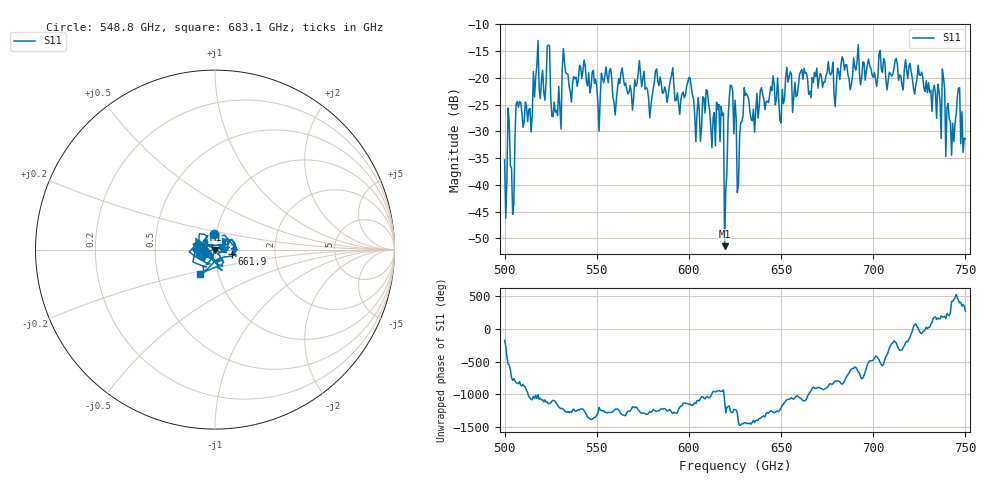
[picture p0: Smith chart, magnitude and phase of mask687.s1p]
!Created with skrf (http://scikit-rf.org).
# GHz S MA R 50.0
!freq magS11 angS11
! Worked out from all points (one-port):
!   401 points, 500 GHz to 750 GHz, reference 50 ohm
!   lowest |S11| = -51.4 dB at 619.4 GHz (marker M1), VSWR 1.01, Z = 50.3 - j0.0873 ohm
!   |S11| at or under -10 dB: start of sweep to end of sweep
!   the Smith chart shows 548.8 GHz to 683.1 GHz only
!   S11 on the Smith chart (normalised r, x): 548.8 GHz: 0.98, +0.17; 661.9 GHz: 1.21, -0.05; 683.1 GHz: 0.82, -0.22
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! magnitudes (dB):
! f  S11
! 500 GHz  -35.4
! 502.5 GHz  -28.2
! 504.4 GHz  -45.5
! 507.5 GHz  -25.5
! 513.8 GHz  -25.8
! 516.9 GHz  -19.8
! 523.8 GHz  -13.9
! 526.9 GHz  -24.6
! 531.2 GHz  -18.4
! 548.8 GHz  -21.0
! 562.5 GHz  -21.1
! 593.8 GHz  -22.8
! 616.2 GHz  -25.0
! 619.4 GHz  -51.4
! 620.6 GHz  -37.6
! 622.5 GHz  -21.4
! 625 GHz  -24.2
! 627.5 GHz  -31.0
! 631.2 GHz  -23.0
! 634.4 GHz  -28.0
! 656.2 GHz  -26.5
! 661.9 GHz  -20.3
! 683.1 GHz  -16.1
! 687.5 GHz  -22.3
! 718.8 GHz  -20.2
! 743.1 GHz  -28.5
! 745.6 GHz  -23.6
! 750 GHz  -31.4
